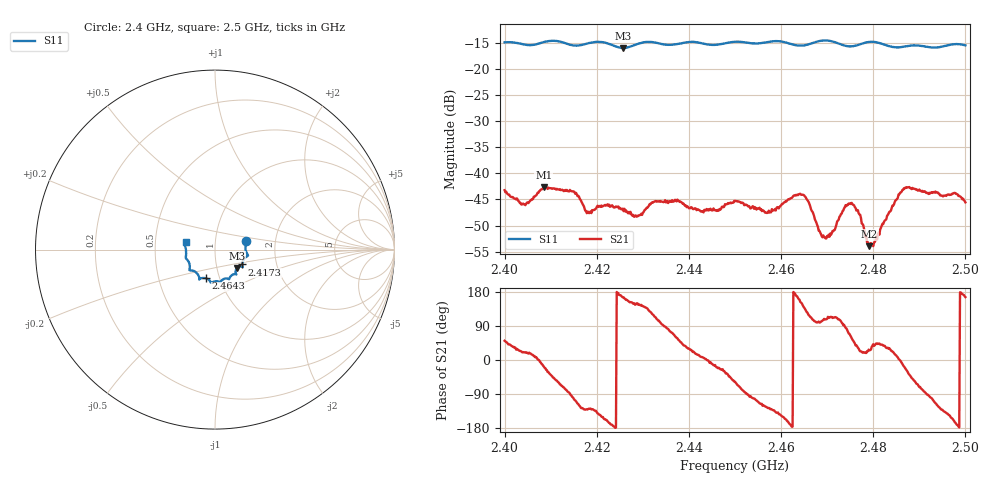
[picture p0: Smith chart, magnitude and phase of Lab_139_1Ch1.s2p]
# Hz S RI R 50
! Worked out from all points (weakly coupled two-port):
!   601 points, 2.4 GHz to 2.5 GHz, reference 50 ohm
!   highest |S21| = -42.58 dB at 2.4085 GHz (marker M1); lowest = -54.0 dB at 2.4792 GHz (marker M2)
!   lowest |S11| = -15.9 dB at 2.4257 GHz (marker M3), VSWR 1.38, Z = 62.4 - j13.1 ohm
!   |S11| at or under -10 dB: start of sweep to end of sweep
!   S12 and S22 are empty: the file has one direction only
!   S11 on the Smith chart (normalised r, x): 2.4 GHz: 1.41, +0.14; 2.4173 GHz: 1.34, -0.23; 2.4643 GHz: 0.86, -0.28; 2.5 GHz: 0.72, +0.06
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2.4e9  0.1737 0.0492  0.00437 0.00534  0 0  0 0
2.404167e9  0.1708 0.023  0.00475 0.00174  0 0  0 0
2.4085e9  0.1801 -0.025  0.00709 -0.00222  0 0  0 0
2.414667e9  0.1611 -0.0525  -0.000845 -0.0067  0 0  0 0
2.416667e9  0.1527 -0.0751  -0.00324 -0.00428  0 0  0 0
2.417333e9  0.1521 -0.0825  -0.003 -0.00355  0 0  0 0
2.425667e9  0.1223 -0.1024  -0.00444 0.00118  0 0  0 0
2.429e9  0.1158 -0.1314  -0.00322 0.0022  0 0  0 0
2.433333e9  0.1127 -0.1366  -0.00129 0.00522  0 0  0 0
2.442667e9  0.0714 -0.1625  0.00425 0.000601  0 0  0 0
2.45e9  0.0295 -0.1806  0.00293 -0.00456  0 0  0 0
2.457333e9  -0.0157 -0.182  -0.00261 -0.00353  0 0  0 0
2.464333e9  -0.0502 -0.1603  -0.00549 0.00298  0 0  0 0
2.466667e9  -0.0762 -0.1595  -0.00148 0.00411  0 0  0 0
2.4685e9  -0.0865 -0.1652  -0.000446 0.00267  0 0  0 0
2.47e9  -0.0873 -0.1664  -0.000793 0.00238  0 0  0 0
2.475333e9  -0.1097 -0.1236  0.00284 0.00437  0 0  0 0
2.476833e9  -0.1251 -0.1168  0.0036 0.00208  0 0  0 0
2.479167e9  -0.1412 -0.1153  0.00181 0.000857  0 0  0 0
2.483333e9  -0.1406 -0.0894  0.00359 0.00206  0 0  0 0
2.487333e9  -0.1574 -0.0546  0.00646 -0.00354  0 0  0 0
2.5e9  -0.1638 0.0418  -0.00512 0.00128  0 0  0 0
